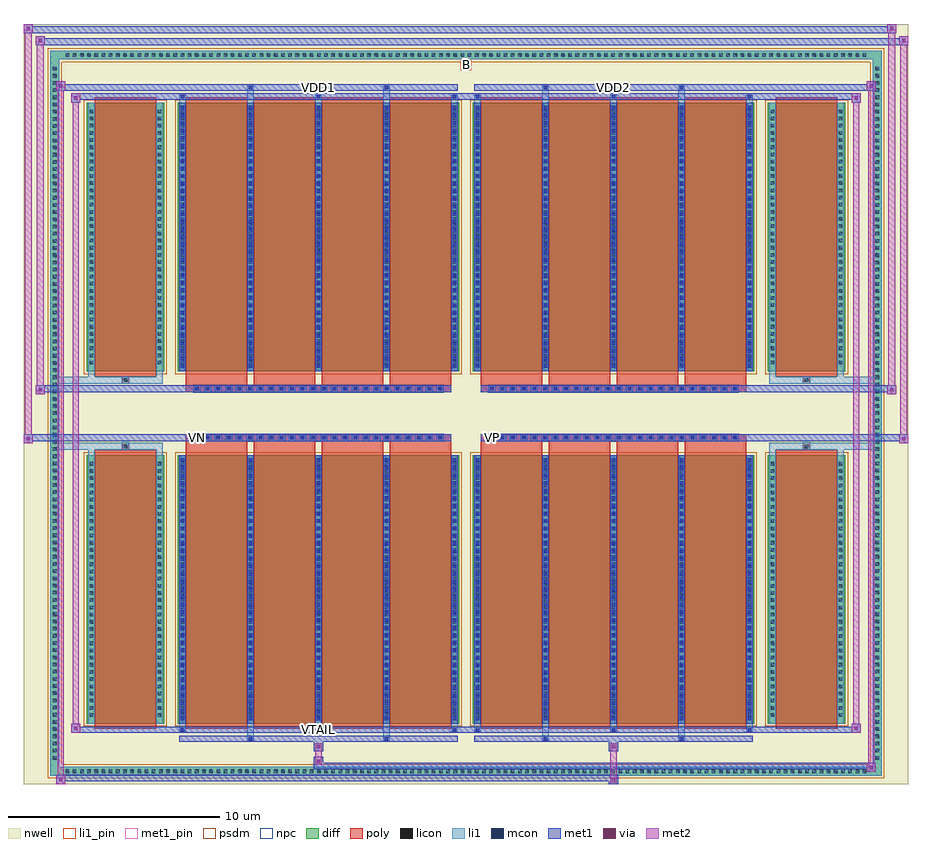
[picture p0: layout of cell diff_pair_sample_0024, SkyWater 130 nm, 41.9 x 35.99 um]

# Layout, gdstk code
import gdstk
lib = gdstk.Library(unit=1e-6, precision=5e-09)
def R(c, l, rs):  # rectangles x0, y0, x1, y1
    for r in rs: c.add(gdstk.rectangle(r[:2], r[2:], *l))
def A(c, l, x, y, w, h, nx, ny, dx, dy):  # array of equal rectangles
    R(c, l, [(x+i*dx, y+j*dy, x+i*dx+w, y+j*dy+h) for i in range(nx) for j in range(ny)])
def P(c, l, *ps):  # polygons
    for p in ps: c.add(gdstk.Polygon(p, *l))
nwell = (64, 20)
diff = (65, 20)
poly = (66, 20)
licon = (66, 44)
li1_pin = (67, 16)
li1 = (67, 20)
mcon = (67, 44)
met1_pin = (68, 16)
met1 = (68, 20)
via = (68, 44)
met2 = (69, 20)
psdm = (94, 20)
npc = (95, 20)

diff_pair_sample_0024 = lib.new_cell('diff_pair_sample_0024')
R(diff_pair_sample_0024, nwell, [(-20.95,-17.56,20.95,18.43), (-18.27,-15.75,-0.01,-0.795), (0.01,-15.75,18.27,-0.795), (-18.27,0.795,-0.01,15.75), (0.01,0.795,18.27,15.75)])
A(diff_pair_sample_0024, diff, -19.075, -17.16, 0.41, 0.41, 112, 2, 0.34, 33.91)
A(diff_pair_sample_0024, diff, -19.68, -16.525, 0.41, 0.41, 1, 97, 0, 0.34)
A(diff_pair_sample_0024, diff, 19.27, -16.525, 0.41, 0.41, 1, 97, 0, 0.34)
R(diff_pair_sample_0024, diff, [(-19.075,-17.16,19.075,-16.75), (-19.68,-16.525,-19.27,16.525), (19.27,-16.525,19.68,16.525), (-17.96,-14.705,-14.29,-1.985), (-13.65,-14.705,-0.32,-1.985), (0.32,-14.705,13.65,-1.985), (14.29,-14.705,17.96,-1.985), (-17.96,1.985,-14.29,14.705), (-13.65,1.985,-0.32,14.705), (0.32,1.985,13.65,14.705), (14.29,1.985,17.96,14.705), (-19.075,16.75,19.075,17.16)])
P(diff_pair_sample_0024, diff, [(19.68,17.16),(-19.68,17.16),(-19.68,-16.75),(-19.27,-16.75),(-19.27,16.75),(19.27,16.75),(19.27,-16.75),(-19.27,-16.75),(-19.68,-16.75),(-19.68,-17.16),(19.68,-17.16)])
A(diff_pair_sample_0024, poly, -13.26, -14.955, 2.89, 13.22, 4, 2, 3.22, 16.69)
A(diff_pair_sample_0024, poly, 0.71, -14.955, 2.89, 13.22, 4, 2, 3.22, 16.69)
A(diff_pair_sample_0024, poly, -13.26, -1.735, 2.89, 0.41, 4, 2, 3.22, 3.06)
A(diff_pair_sample_0024, poly, 0.71, -1.735, 2.89, 0.41, 4, 2, 3.22, 3.06)
A(diff_pair_sample_0024, poly, -12.9, -1.325, 0.33, 0.33, 24, 2, 0.5, 2.32)
A(diff_pair_sample_0024, poly, 1.07, -1.325, 0.33, 0.33, 24, 2, 0.5, 2.32)
R(diff_pair_sample_0024, poly, [(-17.57,-14.955,-14.68,-1.735), (14.68,-14.955,17.57,-1.735), (-16.29,-1.735,-15.96,-1.405), (-16.29,-1.735,-15.96,-1.405), (15.96,-1.735,16.29,-1.405), (15.96,-1.735,16.29,-1.405), (-13.26,-1.325,-0.71,-0.995), (0.71,-1.325,13.26,-0.995), (-13.26,0.995,-0.71,1.325), (0.71,0.995,13.26,1.325), (-16.29,1.405,-15.96,1.735), (-16.29,1.405,-15.96,1.735), (15.96,1.405,16.29,1.735), (15.96,1.405,16.29,1.735), (-17.57,1.735,-14.68,14.955), (14.68,1.735,17.57,14.955)])
A(diff_pair_sample_0024, licon, -18.955, -17.04, 0.17, 0.17, 112, 2, 0.34, 33.91)
A(diff_pair_sample_0024, licon, -19.56, -16.405, 0.17, 0.17, 1, 97, 0, 0.34)
A(diff_pair_sample_0024, licon, 19.39, -16.405, 0.17, 0.17, 1, 97, 0, 0.34)
A(diff_pair_sample_0024, licon, -17.82, -14.38, 0.17, 0.17, 1, 36, 0, 0.34)
A(diff_pair_sample_0024, licon, -14.6, -14.38, 0.17, 0.17, 1, 36, 0, 0.34)
A(diff_pair_sample_0024, licon, -13.51, -14.38, 0.17, 0.17, 5, 36, 3.22, 0.34)
A(diff_pair_sample_0024, licon, 0.46, -14.38, 0.17, 0.17, 5, 36, 3.22, 0.34)
A(diff_pair_sample_0024, licon, 14.43, -14.38, 0.17, 0.17, 1, 36, 0, 0.34)
A(diff_pair_sample_0024, licon, 17.65, -14.38, 0.17, 0.17, 1, 36, 0, 0.34)
A(diff_pair_sample_0024, licon, -12.82, -1.245, 0.17, 0.17, 24, 2, 0.5, 2.32)
A(diff_pair_sample_0024, licon, 1.15, -1.245, 0.17, 0.17, 24, 2, 0.5, 2.32)
A(diff_pair_sample_0024, licon, -17.82, 2.31, 0.17, 0.17, 1, 36, 0, 0.34)
A(diff_pair_sample_0024, licon, -14.6, 2.31, 0.17, 0.17, 1, 36, 0, 0.34)
A(diff_pair_sample_0024, licon, -13.51, 2.31, 0.17, 0.17, 5, 36, 3.22, 0.34)
A(diff_pair_sample_0024, licon, 0.46, 2.31, 0.17, 0.17, 5, 36, 3.22, 0.34)
A(diff_pair_sample_0024, licon, 14.43, 2.31, 0.17, 0.17, 1, 36, 0, 0.34)
A(diff_pair_sample_0024, licon, 17.65, 2.31, 0.17, 0.17, 1, 36, 0, 0.34)
R(diff_pair_sample_0024, licon, [(-16.21,-1.655,-16.04,-1.485), (16.04,-1.655,16.21,-1.485), (-16.21,1.485,-16.04,1.655), (16.04,1.485,16.21,1.655)])
R(diff_pair_sample_0024, li1_pin, [(-0.25,16.25,0.25,16.75)])
A(diff_pair_sample_0024, li1, -19.035, -17.12, 0.33, 0.33, 112, 2, 0.34, 33.91)
A(diff_pair_sample_0024, li1, -19.64, -16.485, 0.33, 0.33, 1, 97, 0, 0.34)
A(diff_pair_sample_0024, li1, 19.31, -16.485, 0.33, 0.33, 1, 97, 0, 0.34)
A(diff_pair_sample_0024, li1, -13.59, -15.08, 0.33, 0.375, 3, 2, 6.44, 29.785)
A(diff_pair_sample_0024, li1, -13.51, -15.08, 0.17, 0.17, 3, 2, 6.44, 29.99)
A(diff_pair_sample_0024, li1, 0.38, -15.08, 0.33, 0.375, 3, 2, 6.44, 29.785)
A(diff_pair_sample_0024, li1, 0.46, -15.08, 0.17, 0.17, 3, 2, 6.44, 29.99)
A(diff_pair_sample_0024, li1, -13.59, -14.705, 0.33, 12.72, 5, 2, 3.22, 16.69)
A(diff_pair_sample_0024, li1, 0.38, -14.705, 0.33, 12.72, 5, 2, 3.22, 16.69)
A(diff_pair_sample_0024, li1, -13.51, -14.55, 0.17, 0.17, 5, 35, 3.22, 0.36)
A(diff_pair_sample_0024, li1, -13.51, -14.55, 0.17, 12.41, 5, 2, 3.22, 16.69)
A(diff_pair_sample_0024, li1, 0.46, -14.55, 0.17, 0.17, 5, 35, 3.22, 0.36)
A(diff_pair_sample_0024, li1, 0.46, -14.55, 0.17, 12.41, 5, 2, 3.22, 16.69)
A(diff_pair_sample_0024, li1, -17.9, -14.46, 0.33, 0.33, 1, 36, 0, 0.34)
A(diff_pair_sample_0024, li1, -14.68, -14.46, 0.33, 0.33, 1, 36, 0, 0.34)
A(diff_pair_sample_0024, li1, -13.59, -14.46, 0.33, 0.33, 5, 36, 3.22, 0.34)
A(diff_pair_sample_0024, li1, 0.38, -14.46, 0.33, 0.33, 5, 36, 3.22, 0.34)
A(diff_pair_sample_0024, li1, 14.35, -14.46, 0.33, 0.33, 1, 36, 0, 0.34)
A(diff_pair_sample_0024, li1, 17.57, -14.46, 0.33, 0.33, 1, 36, 0, 0.34)
A(diff_pair_sample_0024, li1, -12.9, -1.325, 0.33, 0.33, 24, 2, 0.5, 2.32)
A(diff_pair_sample_0024, li1, 1.07, -1.325, 0.33, 0.33, 24, 2, 0.5, 2.32)
A(diff_pair_sample_0024, li1, -13.51, 2.14, 0.17, 0.17, 5, 35, 3.22, 0.36)
A(diff_pair_sample_0024, li1, 0.46, 2.14, 0.17, 0.17, 5, 35, 3.22, 0.36)
A(diff_pair_sample_0024, li1, -17.9, 2.23, 0.33, 0.33, 1, 36, 0, 0.34)
A(diff_pair_sample_0024, li1, -14.68, 2.23, 0.33, 0.33, 1, 36, 0, 0.34)
A(diff_pair_sample_0024, li1, -13.59, 2.23, 0.33, 0.33, 5, 36, 3.22, 0.34)
A(diff_pair_sample_0024, li1, 0.38, 2.23, 0.33, 0.33, 5, 36, 3.22, 0.34)
A(diff_pair_sample_0024, li1, 14.35, 2.23, 0.33, 0.33, 1, 36, 0, 0.34)
A(diff_pair_sample_0024, li1, 17.57, 2.23, 0.33, 0.33, 1, 36, 0, 0.34)
R(diff_pair_sample_0024, li1, [(-19.68,-17.16,-19.27,-16.75), (-19.68,-17.16,-19.27,-16.75), (-19.27,-17.16,19.27,-16.75), (19.27,-17.16,19.68,-16.75), (19.27,-17.16,19.68,-16.75), (-19.68,-16.75,-19.27,16.75), (19.27,-16.75,19.68,16.75), (-10.37,-15.51,-10.04,-14.705), (-10.29,-15.51,-10.12,-15.34), (-3.93,-15.51,-3.6,-14.705), (-3.85,-15.51,-3.68,-15.34), (3.6,-15.51,3.93,-14.705), (3.68,-15.51,3.85,-15.34), (10.04,-15.51,10.37,-14.705), (10.12,-15.51,10.29,-15.34), (-17.9,-14.705,-17.57,-1.985), (-14.68,-14.705,-14.35,-1.985), (14.35,-14.705,14.68,-1.985), (17.57,-14.705,17.9,-1.985), (-17.9,-1.985,-17.57,-1.405), (-14.68,-1.985,-14.35,-1.405), (14.35,-1.985,14.68,-1.405), (17.57,-1.985,17.9,-1.405), (-19.68,-1.735,-16.29,-1.405), (-17.9,-1.735,-16.29,-1.405), (-16.29,-1.735,-15.96,-1.405), (-15.96,-1.735,-14.35,-1.405), (14.35,-1.735,15.96,-1.405), (15.96,-1.735,16.29,-1.405), (15.96,-1.735,19.68,-1.405), (16.29,-1.735,17.9,-1.405), (-19.68,1.405,-16.29,1.735), (-17.9,1.405,-16.29,1.735), (-17.9,1.405,-17.57,1.985), (-16.29,1.405,-15.96,1.735), (-15.96,1.405,-14.35,1.735), (-14.68,1.405,-14.35,1.985), (14.35,1.405,15.96,1.735), (14.35,1.405,14.68,1.985), (15.96,1.405,16.29,1.735), (15.96,1.405,19.68,1.735), (16.29,1.405,17.9,1.735), (17.57,1.405,17.9,1.985), (-17.9,1.985,-17.57,14.705), (-14.68,1.985,-14.35,14.705), (14.35,1.985,14.68,14.705), (17.57,1.985,17.9,14.705), (-10.37,14.705,-10.04,15.51), (-3.93,14.705,-3.6,15.51), (3.6,14.705,3.93,15.51), (10.04,14.705,10.37,15.51), (-10.29,15.34,-10.12,15.51), (-3.85,15.34,-3.68,15.51), (3.68,15.34,3.85,15.51), (10.12,15.34,10.29,15.51), (-19.68,16.75,-19.27,17.16), (-19.68,16.75,-19.27,17.16), (-19.27,16.75,19.27,17.16), (19.27,16.75,19.68,17.16), (19.27,16.75,19.68,17.16)])
A(diff_pair_sample_0024, mcon, -13.51, -15.08, 0.17, 0.17, 3, 2, 6.44, 29.99)
A(diff_pair_sample_0024, mcon, 0.46, -15.08, 0.17, 0.17, 3, 2, 6.44, 29.99)
A(diff_pair_sample_0024, mcon, -13.51, -14.55, 0.17, 0.17, 5, 35, 3.22, 0.36)
A(diff_pair_sample_0024, mcon, 0.46, -14.55, 0.17, 0.17, 5, 35, 3.22, 0.36)
A(diff_pair_sample_0024, mcon, -12.82, -1.245, 0.17, 0.17, 24, 2, 0.5, 2.32)
A(diff_pair_sample_0024, mcon, 1.15, -1.245, 0.17, 0.17, 24, 2, 0.5, 2.32)
A(diff_pair_sample_0024, mcon, -13.51, 2.14, 0.17, 0.17, 5, 35, 3.22, 0.36)
A(diff_pair_sample_0024, mcon, 0.46, 2.14, 0.17, 0.17, 5, 35, 3.22, 0.36)
R(diff_pair_sample_0024, mcon, [(-10.29,-15.51,-10.12,-15.34), (-3.85,-15.51,-3.68,-15.34), (3.68,-15.51,3.85,-15.34), (10.12,-15.51,10.29,-15.34), (-10.29,15.34,-10.12,15.51), (-3.85,15.34,-3.68,15.51), (3.68,15.34,3.85,15.51), (10.12,15.34,10.29,15.51)])
R(diff_pair_sample_0024, met1_pin, [(-7.12,-15.12,-6.85,-14.85), (-12.87,-1.285,-12.6,-1.015), (1.1,-1.285,1.37,-1.015), (-7.12,15.3,-6.85,15.57), (6.85,15.3,7.12,15.57)])
A(diff_pair_sample_0024, met1, -13.57, -15.14, 0.29, 0.29, 3, 2, 6.44, 29.99)
A(diff_pair_sample_0024, met1, 0.4, -15.14, 0.29, 0.29, 3, 2, 6.44, 29.99)
A(diff_pair_sample_0024, met1, -13.57, -14.705, 0.29, 12.72, 5, 2, 3.22, 16.69)
A(diff_pair_sample_0024, met1, 0.4, -14.705, 0.29, 12.72, 5, 2, 3.22, 16.69)
A(diff_pair_sample_0024, met1, -13.57, -14.61, 0.29, 0.29, 5, 35, 3.22, 0.36)
A(diff_pair_sample_0024, met1, 0.4, -14.61, 0.29, 0.29, 5, 35, 3.22, 0.36)
A(diff_pair_sample_0024, met1, -12.88, -1.305, 0.29, 0.29, 24, 2, 0.5, 2.32)
A(diff_pair_sample_0024, met1, 1.09, -1.305, 0.29, 0.29, 24, 2, 0.5, 2.32)
A(diff_pair_sample_0024, met1, -13.57, 2.08, 0.29, 0.29, 5, 35, 3.22, 0.36)
A(diff_pair_sample_0024, met1, 0.4, 2.08, 0.29, 0.29, 5, 35, 3.22, 0.36)
R(diff_pair_sample_0024, met1, [(-19.41,-17.56,-18.98,-17.13), (6.77,-17.56,7.2,-17.13), (-19.41,-17.42,7.2,-17.13), (18.98,-16.99,19.41,-16.56), (-7.2,-16.85,19.41,-16.56), (-7.2,-16.71,-6.77,-16.28), (-7.2,-16,-6.77,-15.57), (6.77,-16,7.2,-15.57), (-13.57,-15.57,-0.4,-15.28), (-10.35,-15.57,-10.06,-15.28), (-3.91,-15.57,-3.62,-15.28), (0.4,-15.57,13.57,-15.28), (3.62,-15.57,3.91,-15.28), (10.06,-15.57,10.35,-15.28), (-18.7,-15.14,-18.27,-14.71), (-18.7,-15.14,-13.57,-14.85), (-13.57,-15.14,-0.4,-14.85), (-0.4,-15.14,0.4,-14.85), (0.4,-15.14,13.57,-14.85), (13.57,-15.14,18.7,-14.85), (18.27,-15.14,18.7,-14.71), (-20.95,-1.425,-20.52,-0.995), (20.52,-1.425,20.95,-0.995), (-20.95,-1.325,-0.71,-0.995), (-13.26,-1.325,-0.71,-0.995), (0.71,-1.325,13.26,-0.995), (0.71,-1.325,20.95,-0.995), (-20.38,0.895,-19.95,1.325), (19.95,0.895,20.38,1.325), (-20.38,0.995,-13.26,1.325), (-13.26,0.995,-0.71,1.325), (0.71,0.995,13.26,1.325), (13.26,0.995,20.38,1.325), (-18.7,14.71,-18.27,15.14), (18.27,14.71,18.7,15.14), (-18.7,14.85,-13.57,15.14), (-13.57,14.85,-0.4,15.14), (-0.4,14.85,0.4,15.14), (0.4,14.85,13.57,15.14), (13.57,14.85,18.7,15.14), (-19.41,15.28,-18.98,15.71), (-19.41,15.28,-13.57,15.57), (-13.57,15.28,-0.4,15.57), (-10.35,15.28,-10.06,15.57), (-3.91,15.28,-3.62,15.57), (0.4,15.28,13.57,15.57), (3.62,15.28,3.91,15.57), (10.06,15.28,10.35,15.57), (13.57,15.28,19.41,15.57), (18.98,15.28,19.41,15.71), (-20.38,17.43,-19.95,17.86), (-20.38,17.43,-18.27,17.76), (-18.27,17.43,18.27,17.76), (18.27,17.43,20.95,17.76), (20.52,17.43,20.95,17.86), (-20.95,18,-20.52,18.43), (-20.95,18,-18.27,18.33), (-18.27,18,18.27,18.33), (18.27,18,20.38,18.33), (19.95,18,20.38,18.43)])
R(diff_pair_sample_0024, via, [(-19.27,-17.42,-19.12,-17.27), (6.91,-17.42,7.06,-17.27), (19.12,-16.85,19.27,-16.7), (-7.06,-16.57,-6.91,-16.42), (-7.06,-15.86,-6.91,-15.71), (6.91,-15.86,7.06,-15.71), (-18.56,-15,-18.41,-14.85), (18.41,-15,18.56,-14.85), (-20.81,-1.285,-20.66,-1.135), (20.66,-1.285,20.81,-1.135), (-20.24,1.035,-20.09,1.185), (20.09,1.035,20.24,1.185), (-18.56,14.85,-18.41,15), (18.41,14.85,18.56,15), (-19.27,15.42,-19.12,15.57), (19.12,15.42,19.27,15.57), (-20.24,17.57,-20.09,17.72), (20.66,17.57,20.81,17.72), (-20.81,18.14,-20.66,18.29), (20.09,18.14,20.24,18.29)])
R(diff_pair_sample_0024, met2, [(-19.41,-17.56,-18.98,-17.13), (-19.34,-17.56,-19.05,15.71), (-19.05,-17.56,-18.98,-17.13), (-19.36,-17.51,-19.03,-17.18), (6.82,-17.51,7.15,-17.18), (6.82,-17.18,7.15,-15.95), (18.98,-16.99,19.41,-16.56), (19.05,-16.99,19.34,15.71), (19.34,-16.99,19.41,-16.56), (19.03,-16.94,19.36,-16.61), (-7.15,-16.66,-6.82,-16.33), (-7.15,-16.33,-6.82,-15.95), (-7.15,-15.95,-6.82,-15.62), (6.82,-15.95,7.15,-15.62), (-18.7,-15.14,-18.27,-14.71), (-18.63,-15.14,-18.34,15.14), (-18.34,-15.14,-18.27,-14.71), (18.27,-15.14,18.7,-14.71), (18.34,-15.14,18.63,15.14), (18.63,-15.14,18.7,-14.71), (-18.65,-15.09,-18.32,-14.76), (18.32,-15.09,18.65,-14.76), (-20.95,-1.425,-20.52,-0.995), (-20.9,-1.425,-20.57,18.43), (-20.57,-1.425,-20.52,-0.995), (20.52,-1.425,20.95,-0.995), (20.57,-1.425,20.9,17.86), (20.9,-1.425,20.95,-0.995), (-20.9,-1.375,-20.57,-1.045), (20.57,-1.375,20.9,-1.045), (-20.38,0.895,-19.95,1.325), (-20.33,0.895,-20,17.86), (-20,0.895,-19.95,1.325), (19.95,0.895,20.38,1.325), (20,0.895,20.33,18.43), (20.33,0.895,20.38,1.325), (-20.33,0.945,-20,1.275), (20,0.945,20.33,1.275), (-18.7,14.71,-18.27,15.14), (-18.34,14.71,-18.27,15.14), (18.27,14.71,18.7,15.14), (18.63,14.71,18.7,15.14), (-18.65,14.76,-18.32,15.09), (18.32,14.76,18.65,15.09), (-19.41,15.28,-18.98,15.71), (-19.05,15.28,-18.98,15.71), (18.98,15.28,19.41,15.71), (19.34,15.28,19.41,15.71), (-19.36,15.33,-19.03,15.66), (19.03,15.33,19.36,15.66), (-20.38,17.43,-19.95,17.86), (-20,17.43,-19.95,17.86), (20.52,17.43,20.95,17.86), (20.9,17.43,20.95,17.86), (-20.33,17.48,-20,17.81), (20.57,17.48,20.9,17.81), (-20.95,18,-20.52,18.43), (-20.57,18,-20.52,18.43), (19.95,18,20.38,18.43), (20.33,18,20.38,18.43), (-20.9,18.05,-20.57,18.38), (20,18.05,20.33,18.38)])
R(diff_pair_sample_0024, psdm, [(-18.09,-14.835,-14.16,-1.855), (-13.78,-14.835,-0.19,-1.855), (0.19,-14.835,13.78,-1.855), (14.16,-14.835,18.09,-1.855), (-18.09,1.855,-14.16,14.835), (-13.78,1.855,-0.19,14.835), (0.19,1.855,13.78,14.835), (14.16,1.855,18.09,14.835)])
P(diff_pair_sample_0024, psdm, [(19.81,17.29),(-19.81,17.29),(-19.81,-16.62),(-19.14,-16.62),(-19.14,16.62),(19.14,16.62),(19.14,-16.62),(-19.14,-16.62),(-19.81,-16.62),(-19.81,-17.29),(19.81,-17.29)])
A(diff_pair_sample_0024, npc, -12.92, -1.345, 0.37, 0.37, 24, 2, 0.5, 2.32)
A(diff_pair_sample_0024, npc, 1.05, -1.345, 0.37, 0.37, 24, 2, 0.5, 2.32)
R(diff_pair_sample_0024, npc, [(-16.31,-1.755,-15.94,-1.385), (15.94,-1.755,16.31,-1.385), (-12.92,-1.345,-12.05,-0.975), (-12.92,-1.345,-12.05,-0.975), (-12.42,-1.345,-11.55,-0.975), (-12.42,-1.345,-11.55,-0.975), (-11.92,-1.345,-11.05,-0.975), (-11.92,-1.345,-11.05,-0.975), (-11.42,-1.345,-10.55,-0.975), (-11.42,-1.345,-10.55,-0.975), (-10.92,-1.345,-10.05,-0.975), (-10.92,-1.345,-10.05,-0.975), (-10.42,-1.345,-9.55,-0.975), (-10.42,-1.345,-9.55,-0.975), (-9.92,-1.345,-9.05,-0.975), (-9.92,-1.345,-9.05,-0.975), (-9.42,-1.345,-8.55,-0.975), (-9.42,-1.345,-8.55,-0.975), (-8.92,-1.345,-8.05,-0.975), (-8.92,-1.345,-8.05,-0.975), (-8.42,-1.345,-7.55,-0.975), (-8.42,-1.345,-7.55,-0.975), (-7.92,-1.345,-7.05,-0.975), (-7.92,-1.345,-7.05,-0.975), (-7.42,-1.345,-6.55,-0.975), (-7.42,-1.345,-6.55,-0.975), (-6.92,-1.345,-6.05,-0.975), (-6.92,-1.345,-6.05,-0.975), (-6.42,-1.345,-5.55,-0.975), (-6.42,-1.345,-5.55,-0.975), (-5.92,-1.345,-5.05,-0.975), (-5.92,-1.345,-5.05,-0.975), (-5.42,-1.345,-4.55,-0.975), (-5.42,-1.345,-4.55,-0.975), (-4.92,-1.345,-4.05,-0.975), (-4.92,-1.345,-4.05,-0.975), (-4.42,-1.345,-3.55,-0.975), (-4.42,-1.345,-3.55,-0.975), (-3.92,-1.345,-3.05,-0.975), (-3.92,-1.345,-3.05,-0.975), (-3.42,-1.345,-2.55,-0.975), (-3.42,-1.345,-2.55,-0.975), (-2.92,-1.345,-2.05,-0.975), (-2.92,-1.345,-2.05,-0.975), (-2.42,-1.345,-1.55,-0.975), (-2.42,-1.345,-1.55,-0.975), (-1.92,-1.345,-1.05,-0.975), (-1.92,-1.345,-1.05,-0.975), (1.05,-1.345,1.92,-0.975), (1.05,-1.345,1.92,-0.975), (1.55,-1.345,2.42,-0.975), (1.55,-1.345,2.42,-0.975), (2.05,-1.345,2.92,-0.975), (2.05,-1.345,2.92,-0.975), (2.55,-1.345,3.42,-0.975), (2.55,-1.345,3.42,-0.975), (3.05,-1.345,3.92,-0.975), (3.05,-1.345,3.92,-0.975), (3.55,-1.345,4.42,-0.975), (3.55,-1.345,4.42,-0.975), (4.05,-1.345,4.92,-0.975), (4.05,-1.345,4.92,-0.975), (4.55,-1.345,5.42,-0.975), (4.55,-1.345,5.42,-0.975), (5.05,-1.345,5.92,-0.975), (5.05,-1.345,5.92,-0.975), (5.55,-1.345,6.42,-0.975), (5.55,-1.345,6.42,-0.975), (6.05,-1.345,6.92,-0.975), (6.05,-1.345,6.92,-0.975), (6.55,-1.345,7.42,-0.975), (6.55,-1.345,7.42,-0.975), (7.05,-1.345,7.92,-0.975), (7.05,-1.345,7.92,-0.975), (7.55,-1.345,8.42,-0.975), (7.55,-1.345,8.42,-0.975), (8.05,-1.345,8.92,-0.975), (8.05,-1.345,8.92,-0.975), (8.55,-1.345,9.42,-0.975), (8.55,-1.345,9.42,-0.975), (9.05,-1.345,9.92,-0.975), (9.05,-1.345,9.92,-0.975), (9.55,-1.345,10.42,-0.975), (9.55,-1.345,10.42,-0.975), (10.05,-1.345,10.92,-0.975), (10.05,-1.345,10.92,-0.975), (10.55,-1.345,11.42,-0.975), (10.55,-1.345,11.42,-0.975), (11.05,-1.345,11.92,-0.975), (11.05,-1.345,11.92,-0.975), (11.55,-1.345,12.42,-0.975), (11.55,-1.345,12.42,-0.975), (12.05,-1.345,12.92,-0.975), (12.05,-1.345,12.92,-0.975), (-12.92,0.975,-12.05,1.345), (-12.92,0.975,-12.05,1.345), (-12.42,0.975,-11.55,1.345), (-12.42,0.975,-11.55,1.345), (-11.92,0.975,-11.05,1.345), (-11.92,0.975,-11.05,1.345), (-11.42,0.975,-10.55,1.345), (-11.42,0.975,-10.55,1.345), (-10.92,0.975,-10.05,1.345), (-10.92,0.975,-10.05,1.345), (-10.42,0.975,-9.55,1.345), (-10.42,0.975,-9.55,1.345), (-9.92,0.975,-9.05,1.345), (-9.92,0.975,-9.05,1.345), (-9.42,0.975,-8.55,1.345), (-9.42,0.975,-8.55,1.345), (-8.92,0.975,-8.05,1.345), (-8.92,0.975,-8.05,1.345), (-8.42,0.975,-7.55,1.345), (-8.42,0.975,-7.55,1.345), (-7.92,0.975,-7.05,1.345), (-7.92,0.975,-7.05,1.345), (-7.42,0.975,-6.55,1.345), (-7.42,0.975,-6.55,1.345), (-6.92,0.975,-6.05,1.345), (-6.92,0.975,-6.05,1.345), (-6.42,0.975,-5.55,1.345), (-6.42,0.975,-5.55,1.345), (-5.92,0.975,-5.05,1.345), (-5.92,0.975,-5.05,1.345), (-5.42,0.975,-4.55,1.345), (-5.42,0.975,-4.55,1.345), (-4.92,0.975,-4.05,1.345), (-4.92,0.975,-4.05,1.345), (-4.42,0.975,-3.55,1.345), (-4.42,0.975,-3.55,1.345), (-3.92,0.975,-3.05,1.345), (-3.92,0.975,-3.05,1.345), (-3.42,0.975,-2.55,1.345), (-3.42,0.975,-2.55,1.345), (-2.92,0.975,-2.05,1.345), (-2.92,0.975,-2.05,1.345), (-2.42,0.975,-1.55,1.345), (-2.42,0.975,-1.55,1.345), (-1.92,0.975,-1.05,1.345), (-1.92,0.975,-1.05,1.345), (1.05,0.975,1.92,1.345), (1.05,0.975,1.92,1.345), (1.55,0.975,2.42,1.345), (1.55,0.975,2.42,1.345), (2.05,0.975,2.92,1.345), (2.05,0.975,2.92,1.345), (2.55,0.975,3.42,1.345), (2.55,0.975,3.42,1.345), (3.05,0.975,3.92,1.345), (3.05,0.975,3.92,1.345), (3.55,0.975,4.42,1.345), (3.55,0.975,4.42,1.345), (4.05,0.975,4.92,1.345), (4.05,0.975,4.92,1.345), (4.55,0.975,5.42,1.345), (4.55,0.975,5.42,1.345), (5.05,0.975,5.92,1.345), (5.05,0.975,5.92,1.345), (5.55,0.975,6.42,1.345), (5.55,0.975,6.42,1.345), (6.05,0.975,6.92,1.345), (6.05,0.975,6.92,1.345), (6.55,0.975,7.42,1.345), (6.55,0.975,7.42,1.345), (7.05,0.975,7.92,1.345), (7.05,0.975,7.92,1.345), (7.55,0.975,8.42,1.345), (7.55,0.975,8.42,1.345), (8.05,0.975,8.92,1.345), (8.05,0.975,8.92,1.345), (8.55,0.975,9.42,1.345), (8.55,0.975,9.42,1.345), (9.05,0.975,9.92,1.345), (9.05,0.975,9.92,1.345), (9.55,0.975,10.42,1.345), (9.55,0.975,10.42,1.345), (10.05,0.975,10.92,1.345), (10.05,0.975,10.92,1.345), (10.55,0.975,11.42,1.345), (10.55,0.975,11.42,1.345), (11.05,0.975,11.92,1.345), (11.05,0.975,11.92,1.345), (11.55,0.975,12.42,1.345), (11.55,0.975,12.42,1.345), (12.05,0.975,12.92,1.345), (12.05,0.975,12.92,1.345), (-16.31,1.385,-15.94,1.755), (15.94,1.385,16.31,1.755)])
diff_pair_sample_0024.add(gdstk.Label('VTAIL', (-6.985,-14.985), layer=68, texttype=5))
diff_pair_sample_0024.add(gdstk.Label('VN', (-12.735,-1.15), layer=68, texttype=5))
diff_pair_sample_0024.add(gdstk.Label('VP', (1.235,-1.15), layer=68, texttype=5))
diff_pair_sample_0024.add(gdstk.Label('B', (0,16.5), layer=67, texttype=5))
diff_pair_sample_0024.add(gdstk.Label('VDD2', (6.985,15.435), layer=68, texttype=5))
diff_pair_sample_0024.add(gdstk.Label('VDD1', (-6.985,15.435), layer=68, texttype=5))

lib.write_gds('diff_pair_sample_0024.gds')
